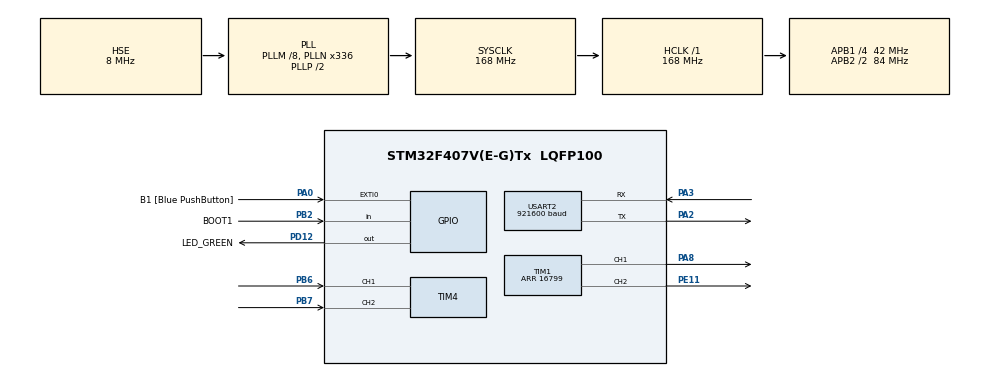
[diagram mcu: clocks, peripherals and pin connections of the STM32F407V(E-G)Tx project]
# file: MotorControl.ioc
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Dma.Request0=USART2_TX
Dma.USART2_TX.0.Direction=DMA_MEMORY_TO_PERIPH
Dma.USART2_TX.0.FIFOMode=DMA_FIFOMODE_DISABLE
Dma.USART2_TX.0.Instance=DMA1_Stream6
Dma.USART2_TX.0.MemDataAlignment=DMA_MDATAALIGN_BYTE
Dma.USART2_TX.0.MemInc=DMA_MINC_ENABLE
Dma.USART2_TX.0.Mode=DMA_NORMAL
Dma.USART2_TX.0.PeriphDataAlignment=DMA_PDATAALIGN_BYTE
Dma.USART2_TX.0.PeriphInc=DMA_PINC_DISABLE
Dma.USART2_TX.0.Priority=DMA_PRIORITY_LOW
Mcu.Family=STM32F4
Mcu.Name=STM32F407V(E-G)Tx
Mcu.Package=LQFP100
NVIC.DMA1_Stream6_IRQn=true\:0\:0\:false\:false\:true\:false\:true\:true
NVIC.PriorityGroup=NVIC_PRIORITYGROUP_4
NVIC.TIM2_IRQn=true\:6\:0\:true\:false\:true\:true\:true\:true
NVIC.TIM6_DAC_IRQn=true\:15\:0\:false\:false\:true\:false\:true\:true
NVIC.TimeBase=TIM6_DAC_IRQn
NVIC.TimeBaseIP=TIM6
NVIC.USART2_IRQn=true\:5\:0\:true\:false\:true\:true\:true\:true
PA0-WKUP.GPIO_Label=B1 [Blue PushButton]
PA0-WKUP.GPIO_ModeDefaultEXTI=GPIO_MODE_EVT_RISING
PA0-WKUP.GPIO_PuPd=GPIO_NOPULL
PA0-WKUP.Signal=GPXTI0
PA13.GPIO_Label=SWDIO
PA13.Mode=JTAG_5_pins
PA13.Signal=SYS_JTMS-SWDIO
PA14.GPIO_Label=SWCLK
PA14.Mode=JTAG_5_pins
PA14.Signal=SYS_JTCK-SWCLK
PA15.Mode=JTAG_5_pins
PA15.Signal=SYS_JTDI
PA2.Mode=Asynchronous
PA2.Signal=USART2_TX
PA3.Mode=Asynchronous
PA3.Signal=USART2_RX
PA8.Signal=S_TIM1_CH1
PB2.GPIO_Label=BOOT1
PB2.GPIO_Mode=GPIO_MODE_INPUT
PB2.GPIO_PuPd=GPIO_NOPULL
PB2.Signal=GPIO_Input
PB3.GPIO_Label=SWO
PB3.Mode=JTAG_5_pins
PB3.Signal=SYS_JTDO-SWO
PB4.Mode=JTAG_5_pins
PB4.Signal=SYS_JTRST
PB6.GPIO_PuPd=GPIO_PULLUP
PB6.Signal=S_TIM4_CH1
PB7.GPIO_PuPd=GPIO_PULLUP
PB7.Signal=S_TIM4_CH2
PC14-OSC32_IN.GPIO_Label=PC14-OSC32_IN
PC14-OSC32_IN.Mode=LSE-External-Oscillator
PC14-OSC32_IN.Signal=RCC_OSC32_IN
PC15-OSC32_OUT.GPIO_Label=PC15-OSC32_OUT
PC15-OSC32_OUT.Mode=LSE-External-Oscillator
PC15-OSC32_OUT.Signal=RCC_OSC32_OUT
PD12.GPIO_Label=LED_GREEN
PD12.GPIO_PuPd=GPIO_NOPULL
PD12.GPIO_Speed=GPIO_SPEED_FREQ_LOW
PD12.Signal=GPIO_Output
PE11.Signal=S_TIM1_CH2
PH0-OSC_IN.GPIO_Label=PH0-OSC_IN
PH0-OSC_IN.Mode=HSE-External-Oscillator
PH0-OSC_IN.Signal=RCC_OSC_IN
PH1-OSC_OUT.GPIO_Label=PH1-OSC_OUT
PH1-OSC_OUT.Mode=HSE-External-Oscillator
PH1-OSC_OUT.Signal=RCC_OSC_OUT
ProjectManager.HeapSize=0x200
ProjectManager.StackSize=0x400
ProjectManager.TargetToolchain=STM32CubeIDE
RCC.48MHZClocksFreq_Value=48000000
RCC.AHBFreq_Value=168000000
RCC.APB1CLKDivider=RCC_HCLK_DIV4
RCC.APB1Freq_Value=42000000
RCC.APB1TimFreq_Value=84000000
RCC.APB2CLKDivider=RCC_HCLK_DIV2
RCC.APB2Freq_Value=84000000
RCC.APB2TimFreq_Value=168000000
RCC.CortexFreq_Value=168000000
RCC.HCLKFreq_Value=168000000
RCC.HSE_VALUE=8000000
RCC.HSI_VALUE=16000000
RCC.PLLM=8
RCC.PLLN=336
RCC.PLLQ=7
RCC.PLLSourceVirtual=RCC_PLLSOURCE_HSE
RCC.SYSCLKFreq_VALUE=168000000
RCC.SYSCLKSource=RCC_SYSCLKSOURCE_PLLCLK
RCC.VCOOutputFreq_Value=336000000
SH.S_TIM1_CH1.0=TIM1_CH1,PWM Generation1 CH1
SH.S_TIM1_CH2.0=TIM1_CH2,PWM Generation2 CH2
SH.S_TIM4_CH1.0=TIM4_CH1,Encoder_Interface
SH.S_TIM4_CH2.0=TIM4_CH2,Encoder_Interface
TIM1.Channel-PWM\ Generation1\ CH1=TIM_CHANNEL_1
TIM1.Channel-PWM\ Generation2\ CH2=TIM_CHANNEL_2
TIM1.Period=16799
TIM1.Pulse-PWM\ Generation1\ CH1=8400
TIM1.Pulse-PWM\ Generation2\ CH2=8400
TIM2.Period=9999
TIM2.Prescaler=83
TIM4.EncoderMode=TIM_ENCODERMODE_TI12
TIM4.IC1Filter=10
TIM4.IC2Filter=10
USART2.BaudRate=921600
USART2.VirtualMode=VM_ASYNC
VP_CRC_VS_CRC.Mode=CRC_Activate
VP_SYS_VS_tim6.Mode=TIM6
VP_TIM1_VS_ClockSourceINT.Mode=Internal
VP_TIM2_VS_ClockSourceINT.Mode=Internal
board=STM32F407G-DISC1

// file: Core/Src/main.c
/* USER CODE BEGIN Header */
/**
 ******************************************************************************
 * @file           : main.c
 * @brief          : Main program body
 ******************************************************************************
 * @attention
 *
 * Copyright (c) 2026 STMicroelectronics.
 * All rights reserved.
 *
 * This software is licensed under terms that can be found in the LICENSE file
 * in the root directory of this software component.
 * If no LICENSE file comes with this software, it is provided AS-IS.
 *
 ******************************************************************************
 */
/* USER CODE END Header */
#include "main.h"

/* USER CODE BEGIN Includes */
#include <string.h>
#include <stdio.h>
#include <math.h>
#include <stdlib.h>
#include <stdatomic.h>

#include "FreeRTOS.h"
#include "task.h"
#include "queue.h"
#include "frame_codec.h"
#include "ring_buffer.h"
#include "pid.h"
#include "motor_dispatcher.h"
/* USER CODE END Includes */

/* USER CODE BEGIN PD */
#define PID_TICK_S           0.01f
#define ACCEL_RPM_PER_S      100.0f
#define DECEL_RPM_PER_S      65.0f
/* USER CODE END PD */

/* USER CODE BEGIN PM */
#define DWT_CTRL    (*(volatile uint32_t*)0xE0001000)
extern void SEGGER_UART_init(U32 baud);
/* USER CODE END PM */

CRC_HandleTypeDef hcrc;

TIM_HandleTypeDef htim1;
TIM_HandleTypeDef htim2;
TIM_HandleTypeDef htim4;

UART_HandleTypeDef huart2;
DMA_HandleTypeDef hdma_usart2_tx;

/* USER CODE BEGIN PV */
_Atomic float g_motor_vel = 0.0f;
static PIDController g_pid;

TaskHandle_t xUartTaskHandle = NULL;
TaskHandle_t xMotorControlTaskHandle = NULL;

RingBuffer_t uartRxRingBuffer;
uint8_t uartRxByte;
QueueHandle_t xMotorCmdQueue = NULL;

volatile uint8_t g_uart_tx_busy = 0;
float g_motor_current = 0.0f;
uint8_t g_fault_flags = 0;
/* USER CODE END PV */

void SystemClock_Config(void);
static void MX_GPIO_Init(void);
static void MX_DMA_Init(void);
static void MX_CRC_Init(void);
static void MX_USART2_UART_Init(void);
static void MX_TIM1_Init(void);
static void MX_TIM4_Init(void);
static void MX_TIM2_Init(void);
/* USER CODE BEGIN PFP */
int __io_putchar(int ch) {
	HAL_UART_Transmit(&huart2, (uint8_t*) &ch, 1,
	HAL_MAX_DELAY);
	return ch;
}

void HAL_UART_RxCpltCallback(UART_HandleTypeDef *huart) {
	if (huart->Instance == huart2.Instance) {
		BaseType_t xHigherPriorityTaskWoken = pdFALSE;
		traceISR_ENTER();
		RingBuffer_Push(&uartRxRingBuffer, uartRxByte);
		vTaskNotifyGiveFromISR(xUartTaskHandle, &xHigherPriorityTaskWoken);
		HAL_UART_Receive_IT(&huart2, &uartRxByte, 1);
		portYIELD_FROM_ISR(xHigherPriorityTaskWoken);
		traceISR_EXIT();
	}
}

void HAL_UART_TxCpltCallback(UART_HandleTypeDef *huart) {
	if (huart->Instance == USART2) {
		g_uart_tx_busy = 0;
	}
}

static float Motor_RampToward(float current, float goal,
		float max_delta_per_tick) {
	float diff = goal - current;
	if (diff > max_delta_per_tick)
		diff = max_delta_per_tick;
	if (diff < -max_delta_per_tick)
		diff = -max_delta_per_tick;
	return current + diff;
}

static void Motor_SetPWM(TIM_HandleTypeDef *htim, float u) {
	if (u > 1.0f)
		u = 1.0f;
	if (u < -1.0f)
		u = -1.0f;

	uint16_t compare = (uint16_t) (fabsf(u) * 16799.0f);

	if (u > 0.0f) {
		__HAL_TIM_SET_COMPARE(htim, TIM_CHANNEL_1, compare);
		__HAL_TIM_SET_COMPARE(htim, TIM_CHANNEL_2, 0);
	} else if (u < 0.0f) {
		__HAL_TIM_SET_COMPARE(htim, TIM_CHANNEL_1, 0);
		__HAL_TIM_SET_COMPARE(htim, TIM_CHANNEL_2, compare);
	} else {
		__HAL_TIM_SET_COMPARE(htim, TIM_CHANNEL_1, 0);
		__HAL_TIM_SET_COMPARE(htim, TIM_CHANNEL_2, 0);
	}
}

static void uart_rx_handler(void *argument) {
	uint8_t rx_byte = 0;
	CodecDecoder_t codec;
	Codec_DecoderInit(&codec);
	HAL_UART_Receive_IT(&huart2, &uartRxByte, 1);
	Motor_Dispatcher_Init(xMotorCmdQueue);
	for (;;) {
		ulTaskNotifyTake(pdTRUE, portMAX_DELAY);
		while (RingBuffer_Pop(&uartRxRingBuffer, &rx_byte)) {
			Frame_t frame;
			CodecStatus_t status = Codec_DecodeByte(&codec, rx_byte, &frame);
			if (status == CODEC_FRAME_READY) {
				Dispatch_Frame(&frame);
			}
		}
	}
}

static void motor_control_handler(void *parameters) {
	__HAL_DBGMCU_FREEZE_TIM1(); // Dừng TIM1 (PWM)
	__HAL_DBGMCU_FREEZE_TIM2(); // Dừng TIM2 (Timer ngắt định thời Control Loop)
	__HAL_DBGMCU_FREEZE_TIM4(); // Dừng TIM4 (Encoder)

	HAL_TIM_PWM_Start(&htim1, TIM_CHANNEL_1);
	HAL_TIM_PWM_Start(&htim1, TIM_CHANNEL_2);
	HAL_TIM_Encoder_Start(&htim4, TIM_CHANNEL_ALL);
	HAL_TIM_Base_Start_IT(&htim2);
	MotorState_t state = MOTOR_STATE_IDLE;
	MotorCommand_t cmd;
	PID_Init(&g_pid, 0.054f,   	// Kp
			0.8f,    			// Ki
			0.0f,     			// Kd
			PID_TICK_S,    		// Ts = 10ms
			-1.0f,    			// limMin
			1.0f      			// limMax
			);
	Motor_SetPWM(&htim1, 0);
	uint32_t telemetry_seq = 0;
	float target_vel = 110.0f;
	float active_setpoint = 0.0f;
	while (1) {
		ulTaskNotifyTake(pdTRUE, portMAX_DELAY);
		while (xQueueReceive(xMotorCmdQueue, &cmd, 0) == pdTRUE) {
			switch (cmd.id) {
			case MSG_CMD_START:
				state = MOTOR_STATE_RUNNING;
				break;
			case MSG_CMD_STOP:
				state = MOTOR_STATE_STOPPING;
				break;
			case MSG_CMD_SET_SPEED:
				target_vel = cmd.data.target_vel;
				break;
			default:
				break;
			}
		}
		float u = 0.0f;
		switch (state) {
		case MOTOR_STATE_RUNNING: {
			float max_step = ACCEL_RPM_PER_S * PID_TICK_S;
			active_setpoint = Motor_RampToward(active_setpoint, target_vel,
					max_step);
			u = PID_Compute(&g_pid, active_setpoint, atomic_load_explicit(&g_motor_vel, memory_order_relaxed));
			Motor_SetPWM(&htim1, u);
			break;
		}
		case MOTOR_STATE_STOPPING: {
			float max_step = DECEL_RPM_PER_S * PID_TICK_S;
			active_setpoint = Motor_RampToward(active_setpoint, 0.0f, max_step);
			u = PID_Compute(&g_pid, active_setpoint, atomic_load_explicit(&g_motor_vel, memory_order_relaxed));
			Motor_SetPWM(&htim1, u);

			if (fabsf(active_setpoint) <= 0.5f && fabsf(atomic_load_explicit(&g_motor_vel, memory_order_relaxed)) <= 0.5f) {
				Motor_SetPWM(&htim1, 0);
				PID_Reset(&g_pid);
				state = MOTOR_STATE_IDLE;
			}
			break;
		}
		case MOTOR_STATE_IDLE:
			break;
		}
		TelemetryPayload_t tel = { .timestamp_ms = xTaskGetTickCount()
				* portTICK_PERIOD_MS, .seq = telemetry_seq++, .setpoint_rpm =
				active_setpoint, .current_rpm = atomic_load_explicit(&g_motor_vel, memory_order_relaxed), .current_amp =
				g_motor_current, .pwm_duty = u, .state = (uint8_t) state,
				.fault_flags = g_fault_flags, };
		Motor_SendTelemetry(&huart2, &tel);

	}
}

/* USER CODE END PFP */

int main(void) {

	/* USER CODE BEGIN 1 */
	BaseType_t status = pdFALSE;
	/* USER CODE END 1 */

	/* MCU Configuration--------------------------------------------------------*/

	/* Reset of all peripherals, Initializes the Flash interface and the Systick. */
	HAL_Init();

	/* Configure the system clock */
	SystemClock_Config();

	/* Initialize all configured peripherals */
	MX_GPIO_Init();
	MX_DMA_Init();
	MX_CRC_Init();
	MX_USART2_UART_Init();
	MX_TIM1_Init();
	MX_TIM4_Init();
	MX_TIM2_Init();
	/* USER CODE BEGIN 2 */
	//CYCLCNT enable
	DWT_CTRL |= (1 << 0);
	SEGGER_SYSVIEW_Conf();
	xMotorCmdQueue = xQueueCreate(sizeof(MotorCommand_t), 5);

	status = xTaskCreate(uart_rx_handler, "UART_Task", 512,
	NULL,
	tskIDLE_PRIORITY + 1, &xUartTaskHandle);
	configASSERT(status == pdPASS);

	status = xTaskCreate(motor_control_handler, "MotorControl_Task", 512,
	NULL,
	tskIDLE_PRIORITY + 4, &xMotorControlTaskHandle);
	configASSERT(status == pdPASS);

	vTaskStartScheduler();
	/* USER CODE END 2 */

	/* Infinite loop */
	while (1) {

	}
}

void SystemClock_Config(void) {
	RCC_OscInitTypeDef RCC_OscInitStruct = { 0 };
	RCC_ClkInitTypeDef RCC_ClkInitStruct = { 0 };

	/** Configure the main internal regulator output voltage
	 */
	__HAL_RCC_PWR_CLK_ENABLE();
	__HAL_PWR_VOLTAGESCALING_CONFIG(PWR_REGULATOR_VOLTAGE_SCALE1);

	/** Initializes the RCC Oscillators according to the specified parameters
	 * in the RCC_OscInitTypeDef structure.
	 */
	RCC_OscInitStruct.OscillatorType = RCC_OSCILLATORTYPE_HSE;
	RCC_OscInitStruct.HSEState = RCC_HSE_ON;
	RCC_OscInitStruct.PLL.PLLState = RCC_PLL_ON;
	RCC_OscInitStruct.PLL.PLLSource = RCC_PLLSOURCE_HSE;
	RCC_OscInitStruct.PLL.PLLM = 8;
	RCC_OscInitStruct.PLL.PLLN = 336;
	RCC_OscInitStruct.PLL.PLLP = RCC_PLLP_DIV2;
	RCC_OscInitStruct.PLL.PLLQ = 7;
	if (HAL_RCC_OscConfig(&RCC_OscInitStruct) != HAL_OK) {
		Error_Handler();
	}

	/** Initializes the CPU, AHB and APB buses clocks
	 */
	RCC_ClkInitStruct.ClockType = RCC_CLOCKTYPE_HCLK | RCC_CLOCKTYPE_SYSCLK
			| RCC_CLOCKTYPE_PCLK1 | RCC_CLOCKTYPE_PCLK2;
	RCC_ClkInitStruct.SYSCLKSource = RCC_SYSCLKSOURCE_PLLCLK;
	RCC_ClkInitStruct.AHBCLKDivider = RCC_SYSCLK_DIV1;
	RCC_ClkInitStruct.APB1CLKDivider = RCC_HCLK_DIV4;
	RCC_ClkInitStruct.APB2CLKDivider = RCC_HCLK_DIV2;

	if (HAL_RCC_ClockConfig(&RCC_ClkInitStruct, FLASH_LATENCY_5) != HAL_OK) {
		Error_Handler();
	}
}

static void MX_CRC_Init(void) {

	hcrc.Instance = CRC;
	if (HAL_CRC_Init(&hcrc) != HAL_OK) {
		Error_Handler();
	}

}

static void MX_TIM1_Init(void) {

	TIM_ClockConfigTypeDef sClockSourceConfig = { 0 };
	TIM_MasterConfigTypeDef sMasterConfig = { 0 };
	TIM_OC_InitTypeDef sConfigOC = { 0 };
	TIM_BreakDeadTimeConfigTypeDef sBreakDeadTimeConfig = { 0 };

	htim1.Instance = TIM1;
	htim1.Init.Prescaler = 0;
	htim1.Init.CounterMode = TIM_COUNTERMODE_UP;
	htim1.Init.Period = 16799;
	htim1.Init.ClockDivision = TIM_CLOCKDIVISION_DIV1;
	htim1.Init.RepetitionCounter = 0;
	htim1.Init.AutoReloadPreload = TIM_AUTORELOAD_PRELOAD_DISABLE;
	if (HAL_TIM_Base_Init(&htim1) != HAL_OK) {
		Error_Handler();
	}
	sClockSourceConfig.ClockSource = TIM_CLOCKSOURCE_INTERNAL;
	if (HAL_TIM_ConfigClockSource(&htim1, &sClockSourceConfig) != HAL_OK) {
		Error_Handler();
	}
	if (HAL_TIM_PWM_Init(&htim1) != HAL_OK) {
		Error_Handler();
	}
	sMasterConfig.MasterOutputTrigger = TIM_TRGO_RESET;
	sMasterConfig.MasterSlaveMode = TIM_MASTERSLAVEMODE_DISABLE;
	if (HAL_TIMEx_MasterConfigSynchronization(&htim1, &sMasterConfig)
			!= HAL_OK) {
		Error_Handler();
	}
	sConfigOC.OCMode = TIM_OCMODE_PWM1;
	sConfigOC.Pulse = 8400;
	sConfigOC.OCPolarity = TIM_OCPOLARITY_HIGH;
	sConfigOC.OCNPolarity = TIM_OCNPOLARITY_HIGH;
	sConfigOC.OCFastMode = TIM_OCFAST_DISABLE;
	sConfigOC.OCIdleState = TIM_OCIDLESTATE_RESET;
	sConfigOC.OCNIdleState = TIM_OCNIDLESTATE_RESET;
	if (HAL_TIM_PWM_ConfigChannel(&htim1, &sConfigOC, TIM_CHANNEL_1)
			!= HAL_OK) {
		Error_Handler();
	}
	if (HAL_TIM_PWM_ConfigChannel(&htim1, &sConfigOC, TIM_CHANNEL_2)
			!= HAL_OK) {
		Error_Handler();
	}
	sBreakDeadTimeConfig.OffStateRunMode = TIM_OSSR_DISABLE;
	sBreakDeadTimeConfig.OffStateIDLEMode = TIM_OSSI_DISABLE;
	sBreakDeadTimeConfig.LockLevel = TIM_LOCKLEVEL_OFF;
	sBreakDeadTimeConfig.DeadTime = 0;
	sBreakDeadTimeConfig.BreakState = TIM_BREAK_DISABLE;
	sBreakDeadTimeConfig.BreakPolarity = TIM_BREAKPOLARITY_HIGH;
	sBreakDeadTimeConfig.AutomaticOutput = TIM_AUTOMATICOUTPUT_DISABLE;
	if (HAL_TIMEx_ConfigBreakDeadTime(&htim1, &sBreakDeadTimeConfig)
			!= HAL_OK) {
		Error_Handler();
	}
	HAL_TIM_MspPostInit(&htim1);

}

static void MX_TIM2_Init(void) {

	TIM_ClockConfigTypeDef sClockSourceConfig = { 0 };
	TIM_MasterConfigTypeDef sMasterConfig = { 0 };

	htim2.Instance = TIM2;
	htim2.Init.Prescaler = 83;
	htim2.Init.CounterMode = TIM_COUNTERMODE_UP;
	htim2.Init.Period = 9999;
	htim2.Init.ClockDivision = TIM_CLOCKDIVISION_DIV1;
	htim2.Init.AutoReloadPreload = TIM_AUTORELOAD_PRELOAD_DISABLE;
	if (HAL_TIM_Base_Init(&htim2) != HAL_OK) {
		Error_Handler();
	}
	sClockSourceConfig.ClockSource = TIM_CLOCKSOURCE_INTERNAL;
	if (HAL_TIM_ConfigClockSource(&htim2, &sClockSourceConfig) != HAL_OK) {
		Error_Handler();
	}
	sMasterConfig.MasterOutputTrigger = TIM_TRGO_RESET;
	sMasterConfig.MasterSlaveMode = TIM_MASTERSLAVEMODE_DISABLE;
	if (HAL_TIMEx_MasterConfigSynchronization(&htim2, &sMasterConfig)
			!= HAL_OK) {
		Error_Handler();
	}

}

static void MX_TIM4_Init(void) {

	TIM_Encoder_InitTypeDef sConfig = { 0 };
	TIM_MasterConfigTypeDef sMasterConfig = { 0 };

	htim4.Instance = TIM4;
	htim4.Init.Prescaler = 0;
	htim4.Init.CounterMode = TIM_COUNTERMODE_UP;
	htim4.Init.Period = 65535;
	htim4.Init.ClockDivision = TIM_CLOCKDIVISION_DIV1;
	htim4.Init.AutoReloadPreload = TIM_AUTORELOAD_PRELOAD_DISABLE;
	sConfig.EncoderMode = TIM_ENCODERMODE_TI12;
	sConfig.IC1Polarity = TIM_ICPOLARITY_RISING;
	sConfig.IC1Selection = TIM_ICSELECTION_DIRECTTI;
	sConfig.IC1Prescaler = TIM_ICPSC_DIV1;
	sConfig.IC1Filter = 10;
	sConfig.IC2Polarity = TIM_ICPOLARITY_RISING;
	sConfig.IC2Selection = TIM_ICSELECTION_DIRECTTI;
	sConfig.IC2Prescaler = TIM_ICPSC_DIV1;
	sConfig.IC2Filter = 10;
	if (HAL_TIM_Encoder_Init(&htim4, &sConfig) != HAL_OK) {
		Error_Handler();
	}
	sMasterConfig.MasterOutputTrigger = TIM_TRGO_RESET;
	sMasterConfig.MasterSlaveMode = TIM_MASTERSLAVEMODE_DISABLE;
	if (HAL_TIMEx_MasterConfigSynchronization(&htim4, &sMasterConfig)
			!= HAL_OK) {
		Error_Handler();
	}

}

static void MX_USART2_UART_Init(void) {

	huart2.Instance = USART2;
	huart2.Init.BaudRate = 115200;
	huart2.Init.WordLength = UART_WORDLENGTH_8B;
	huart2.Init.StopBits = UART_STOPBITS_1;
	huart2.Init.Parity = UART_PARITY_NONE;
	huart2.Init.Mode = UART_MODE_TX_RX;
	huart2.Init.HwFlowCtl = UART_HWCONTROL_NONE;
	huart2.Init.OverSampling = UART_OVERSAMPLING_16;
	if (HAL_UART_Init(&huart2) != HAL_OK) {
		Error_Handler();
	}

}

static void MX_DMA_Init(void) {

	/* DMA controller clock enable */
	__HAL_RCC_DMA1_CLK_ENABLE();

	/* DMA interrupt init */
	/* DMA1_Stream6_IRQn interrupt configuration */
	HAL_NVIC_SetPriority(DMA1_Stream6_IRQn, 0, 0);
	HAL_NVIC_EnableIRQ(DMA1_Stream6_IRQn);

}

static void MX_GPIO_Init(void) {
	GPIO_InitTypeDef GPIO_InitStruct = { 0 };

	/* GPIO Ports Clock Enable */
	__HAL_RCC_GPIOC_CLK_ENABLE();
	__HAL_RCC_GPIOH_CLK_ENABLE();
	__HAL_RCC_GPIOA_CLK_ENABLE();
	__HAL_RCC_GPIOB_CLK_ENABLE();
	__HAL_RCC_GPIOE_CLK_ENABLE();
	__HAL_RCC_GPIOD_CLK_ENABLE();

	/*Configure GPIO pin Output Level */
	HAL_GPIO_WritePin(LED_GREEN_GPIO_Port, LED_GREEN_Pin, GPIO_PIN_RESET);

	/*Configure GPIO pin : B1_Pin */
	GPIO_InitStruct.Pin = B1_Pin;
	GPIO_InitStruct.Mode = GPIO_MODE_EVT_RISING;
	GPIO_InitStruct.Pull = GPIO_NOPULL;
	HAL_GPIO_Init(B1_GPIO_Port, &GPIO_InitStruct);

	/*Configure GPIO pin : BOOT1_Pin */
	GPIO_InitStruct.Pin = BOOT1_Pin;
	GPIO_InitStruct.Mode = GPIO_MODE_INPUT;
	GPIO_InitStruct.Pull = GPIO_NOPULL;
	HAL_GPIO_Init(BOOT1_GPIO_Port, &GPIO_InitStruct);

	/*Configure GPIO pin : LED_GREEN_Pin */
	GPIO_InitStruct.Pin = LED_GREEN_Pin;
	GPIO_InitStruct.Mode = GPIO_MODE_OUTPUT_PP;
	GPIO_InitStruct.Pull = GPIO_NOPULL;
	GPIO_InitStruct.Speed = GPIO_SPEED_FREQ_LOW;
	HAL_GPIO_Init(LED_GREEN_GPIO_Port, &GPIO_InitStruct);

}

/* USER CODE BEGIN 4 */

float Apply_RPM_Filter(float input_rpm) {
	static float filtered_rpm = 0.0f;
	float alpha = 0.2f; // LPF Coefficient
	filtered_rpm = alpha * input_rpm + (1.0f - alpha) * filtered_rpm;
	return filtered_rpm;
}
/* USER CODE END 4 */

void HAL_TIM_PeriodElapsedCallback(TIM_HandleTypeDef *htim) {
	if (htim->Instance == TIM6) {
		HAL_IncTick();
	}
	/* USER CODE BEGIN Callback 1 */
	if (htim->Instance == TIM2) {
		traceISR_ENTER();

		// 1. Đọc số xung đếm được từ TIM4 (ép kiểu sang int16_t để lấy dấu âm/dương)
		int16_t raw_cnt = (int16_t) __HAL_TIM_GET_COUNTER(&htim4);

		// 2. Reset counter về 0 ngay lập tức
		__HAL_TIM_SET_COUNTER(&htim4, 0);

		// 3. Tính vận tốc RPM mang dấu (Bỏ fabsf)
		// Nếu motor quay thuận mà raw_cnt bị âm, đổi thành: (-raw_cnt / 3960.0f)
		float raw_rpm = ((float) raw_cnt / 3960.0f) * 6000.0f;

		// 4. Lọc bùn/nhiễu qua bộ lọc Low-Pass Filter (hàm filter cần hỗ trợ số âm)
		atomic_store_explicit(&g_motor_vel, Apply_RPM_Filter(raw_rpm), memory_order_relaxed);

		// 5. Unblock Task điều khiển
		BaseType_t xHigherPriorityTaskWoken = pdFALSE;
		vTaskNotifyGiveFromISR(xMotorControlTaskHandle,
				&xHigherPriorityTaskWoken);
		portYIELD_FROM_ISR(xHigherPriorityTaskWoken);

		traceISR_EXIT();
	}

	/* USER CODE END Callback 1 */
}

void Error_Handler(void) {
	__disable_irq();
	while (1) {
	}
}
